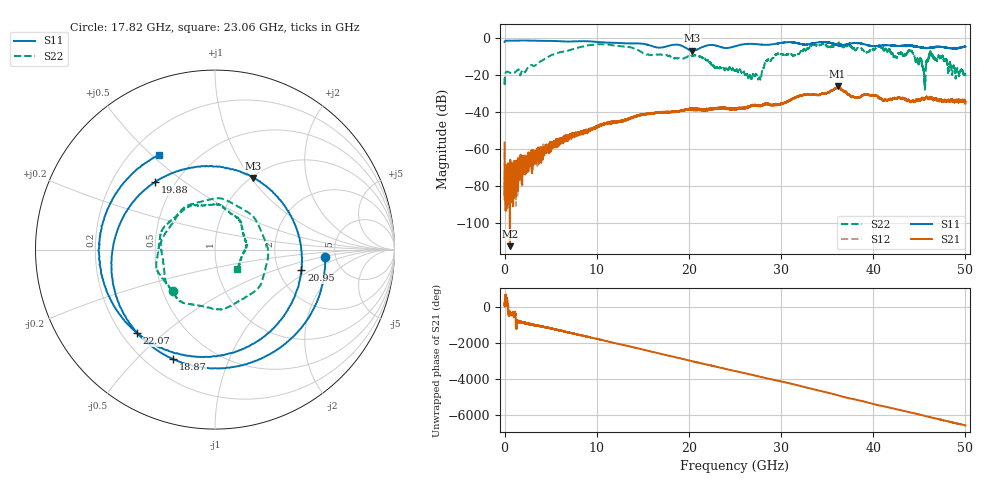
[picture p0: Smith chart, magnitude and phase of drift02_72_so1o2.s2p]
!Created with skrf (http://scikit-rf.org).
# Hz S RI R 50.0
!freq ReS11 ImS11 ReS21 ImS21 ReS12 ImS12 ReS22 ImS22
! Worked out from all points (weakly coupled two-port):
!   10001 points, 300 kHz to 50 GHz, reference 50 ohm
!   highest |S21| = -26.18 dB at 36.13 GHz (marker M1); lowest = -112.5 dB at 570.3 MHz (marker M2)
!   lowest |S11| = -6.9 dB at 20.38 GHz (marker M3), VSWR 2.64, Z = 50.9 + j51 ohm
!   |S11| at or under -10 dB: nowhere
!   |S22| runs from -28.7 to -2.3 dB; largest |S21 - S12| = 0.0053
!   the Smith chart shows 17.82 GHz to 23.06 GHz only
!   S11 on the Smith chart (normalised r, x): 17.82 GHz: 4.13, -0.52; 18.87 GHz: 0.30, -0.65; 19.88 GHz: 0.39, +0.39; 20.95 GHz: 2.68, -0.81; 22.07 GHz: 0.26, -0.41; 23.06 GHz: 0.31, +0.53
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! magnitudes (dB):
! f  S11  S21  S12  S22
! 300 kHz  -2.1  -56.6  -61.6  -21.6
! 255.3 MHz  -1.4  -85.1  -73.1  -18.2
! 570.3 MHz  -1.5  -112.5  -78.3  -18.8
! 8.335 GHz  -1.7  -50.8  -51.1  -4.7
! 16.67 GHz  -5.2  -40.1  -40.5  -9.0
! 17.82 GHz  -4.2  -40.1  -40.0  -9.7
! 18.87 GHz  -3.7  -39.7  -39.6  -10.9
! 19.88 GHz  -6.0  -38.8  -38.7  -10.0
! 20.38 GHz  -6.9  -38.3  -38.5  -9.7
! 20.95 GHz  -6.1  -38.8  -38.3  -9.3
! 22.07 GHz  -3.9  -38.5  -38.8  -12.2
! 23.06 GHz  -4.3  -37.8  -38.1  -15.8
! 25 GHz  -4.5  -38.0  -38.0  -17.7
! 27.63 GHz  -3.5  -36.6  -36.6  -21.6
! 29.54 GHz  -3.0  -35.9  -36.1  -8.9
! 33.34 GHz  -3.0  -30.6  -30.5  -3.8
! 36.13 GHz  -3.9  -26.2  -26.9  -3.3
! 41.67 GHz  -3.9  -33.4  -33.4  -6.3
! 44.13 GHz  -4.1  -34.5  -34.4  -7.0
! 45.5 GHz  -5.4  -33.1  -33.2  -18.2
! 46.29 GHz  -5.2  -33.0  -32.1  -9.4
! 50 GHz  -4.7  -34.3  -34.4  -20.0
